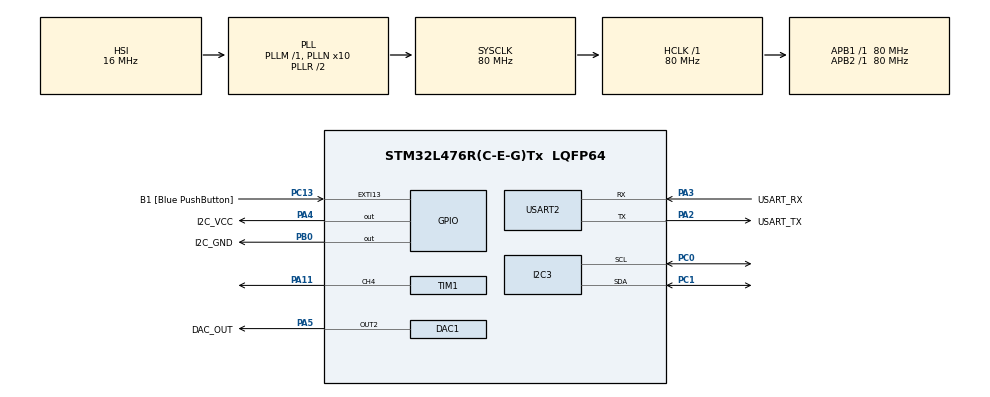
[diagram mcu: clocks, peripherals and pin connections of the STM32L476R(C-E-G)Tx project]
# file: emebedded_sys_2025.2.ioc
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ADC3.Channel-0\#ChannelRegularConversion=ADC_CHANNEL_15
ADC3.NbrOfConversionFlag=1
ADC3.OffsetNumber-0\#ChannelRegularConversion=ADC_OFFSET_NONE
ADC3.Rank-0\#ChannelRegularConversion=1
ADC3.SamplingTime-0\#ChannelRegularConversion=ADC_SAMPLETIME_2CYCLES_5
DAC1.DAC_Channel-DAC_OUT2_ExtAndInt=DAC_CHANNEL_2
DAC1.DAC_Trigger-DAC_OUT2_ExtAndInt=DAC_TRIGGER_T4_TRGO
Dma.ADC3.5.Direction=DMA_PERIPH_TO_MEMORY
Dma.ADC3.5.Instance=DMA2_Channel5
Dma.ADC3.5.MemDataAlignment=DMA_MDATAALIGN_HALFWORD
Dma.ADC3.5.MemInc=DMA_MINC_ENABLE
Dma.ADC3.5.Mode=DMA_NORMAL
Dma.ADC3.5.PeriphDataAlignment=DMA_PDATAALIGN_HALFWORD
Dma.ADC3.5.PeriphInc=DMA_PINC_DISABLE
Dma.ADC3.5.Priority=DMA_PRIORITY_HIGH
Dma.DAC_CH2.4.Direction=DMA_MEMORY_TO_PERIPH
Dma.DAC_CH2.4.Instance=DMA1_Channel4
Dma.DAC_CH2.4.MemDataAlignment=DMA_MDATAALIGN_HALFWORD
Dma.DAC_CH2.4.MemInc=DMA_MINC_ENABLE
Dma.DAC_CH2.4.Mode=DMA_CIRCULAR
Dma.DAC_CH2.4.PeriphDataAlignment=DMA_PDATAALIGN_HALFWORD
Dma.DAC_CH2.4.PeriphInc=DMA_PINC_DISABLE
Dma.DAC_CH2.4.Priority=DMA_PRIORITY_HIGH
Dma.I2C3_RX.2.Direction=DMA_PERIPH_TO_MEMORY
Dma.I2C3_RX.2.Instance=DMA1_Channel3
Dma.I2C3_RX.2.MemDataAlignment=DMA_MDATAALIGN_BYTE
Dma.I2C3_RX.2.MemInc=DMA_MINC_ENABLE
Dma.I2C3_RX.2.Mode=DMA_NORMAL
Dma.I2C3_RX.2.PeriphDataAlignment=DMA_PDATAALIGN_BYTE
Dma.I2C3_RX.2.PeriphInc=DMA_PINC_DISABLE
Dma.I2C3_RX.2.Priority=DMA_PRIORITY_MEDIUM
Dma.I2C3_TX.3.Direction=DMA_MEMORY_TO_PERIPH
Dma.I2C3_TX.3.Instance=DMA1_Channel2
Dma.I2C3_TX.3.MemDataAlignment=DMA_MDATAALIGN_BYTE
Dma.I2C3_TX.3.MemInc=DMA_MINC_ENABLE
Dma.I2C3_TX.3.Mode=DMA_NORMAL
Dma.I2C3_TX.3.PeriphDataAlignment=DMA_PDATAALIGN_BYTE
Dma.I2C3_TX.3.PeriphInc=DMA_PINC_DISABLE
Dma.I2C3_TX.3.Priority=DMA_PRIORITY_MEDIUM
Dma.Request0=USART2_RX
Dma.Request1=USART2_TX
Dma.Request2=I2C3_RX
Dma.Request3=I2C3_TX
Dma.Request4=DAC_CH2
Dma.Request5=ADC3
Dma.USART2_RX.0.Direction=DMA_PERIPH_TO_MEMORY
Dma.USART2_RX.0.Instance=DMA1_Channel6
Dma.USART2_RX.0.MemDataAlignment=DMA_MDATAALIGN_BYTE
Dma.USART2_RX.0.MemInc=DMA_MINC_ENABLE
Dma.USART2_RX.0.Mode=DMA_NORMAL
Dma.USART2_RX.0.PeriphDataAlignment=DMA_PDATAALIGN_BYTE
Dma.USART2_RX.0.PeriphInc=DMA_PINC_DISABLE
Dma.USART2_RX.0.Priority=DMA_PRIORITY_MEDIUM
Dma.USART2_TX.1.Direction=DMA_MEMORY_TO_PERIPH
Dma.USART2_TX.1.Instance=DMA1_Channel7
Dma.USART2_TX.1.MemDataAlignment=DMA_MDATAALIGN_BYTE
Dma.USART2_TX.1.MemInc=DMA_MINC_ENABLE
Dma.USART2_TX.1.Mode=DMA_NORMAL
Dma.USART2_TX.1.PeriphDataAlignment=DMA_PDATAALIGN_BYTE
Dma.USART2_TX.1.PeriphInc=DMA_PINC_DISABLE
Dma.USART2_TX.1.Priority=DMA_PRIORITY_MEDIUM
I2C3.Timing=0x10D19CE4
Mcu.Family=STM32L4
Mcu.Name=STM32L476R(C-E-G)Tx
Mcu.Package=LQFP64
NVIC.ADC3_IRQn=true\:5\:0\:true\:false\:true\:true\:true\:true
NVIC.DMA1_Channel2_IRQn=true\:0\:0\:false\:false\:true\:false\:true\:true
NVIC.DMA1_Channel3_IRQn=true\:0\:0\:false\:false\:true\:false\:true\:true
NVIC.DMA1_Channel4_IRQn=true\:0\:0\:false\:false\:true\:false\:true\:true
NVIC.DMA1_Channel6_IRQn=true\:0\:0\:false\:false\:true\:false\:true\:true
NVIC.DMA1_Channel7_IRQn=true\:0\:0\:false\:false\:true\:false\:true\:true
NVIC.DMA2_Channel5_IRQn=true\:0\:0\:false\:false\:true\:false\:true\:true
NVIC.EXTI15_10_IRQn=true\:7\:0\:true\:false\:true\:true\:true\:true
NVIC.I2C3_ER_IRQn=true\:2\:0\:true\:false\:true\:true\:true\:true
NVIC.I2C3_EV_IRQn=true\:2\:0\:true\:false\:true\:true\:true\:true
NVIC.PriorityGroup=NVIC_PRIORITYGROUP_4
NVIC.TIM2_IRQn=true\:0\:0\:false\:false\:true\:true\:true\:true
NVIC.TIM3_IRQn=true\:5\:0\:true\:false\:true\:true\:true\:true
NVIC.TIM6_DAC_IRQn=true\:0\:0\:false\:false\:true\:true\:true\:true
NVIC.USART2_IRQn=true\:3\:0\:true\:false\:true\:true\:true\:true
PA11.GPIO_ModeDefaultPP=GPIO_MODE_AF_PP
PA11.GPIO_PuPd=GPIO_NOPULL
PA11.GPIO_Speed=GPIO_SPEED_FREQ_LOW
PA11.Signal=S_TIM1_CH4
PA13\ (JTMS-SWDIO).GPIO_Label=TMS
PA13\ (JTMS-SWDIO).Mode=Serial_Wire
PA13\ (JTMS-SWDIO).Signal=SYS_JTMS-SWDIO
PA14\ (JTCK-SWCLK).GPIO_Label=TCK
PA14\ (JTCK-SWCLK).Mode=Serial_Wire
PA14\ (JTCK-SWCLK).Signal=SYS_JTCK-SWCLK
PA2.GPIO_Label=USART_TX
PA2.GPIO_Mode=GPIO_MODE_AF_PP
PA2.GPIO_PuPd=GPIO_NOPULL
PA2.GPIO_Speed=GPIO_SPEED_FREQ_VERY_HIGH
PA2.Mode=Asynchronous
PA2.Signal=USART2_TX
PA3.GPIO_Label=USART_RX
PA3.GPIO_Mode=GPIO_MODE_AF_PP
PA3.GPIO_PuPd=GPIO_NOPULL
PA3.GPIO_Speed=GPIO_SPEED_FREQ_VERY_HIGH
PA3.Mode=Asynchronous
PA3.Signal=USART2_RX
PA4.GPIO_Label=I2C_VCC
PA4.PinState=GPIO_PIN_SET
PA4.Signal=GPIO_Output
PA5.GPIO_Label=DAC_OUT
PA5.Signal=COMP_DAC12_group
PB0.GPIO_Label=I2C_GND
PB0.GPIO_ModeDefaultOutputPP=GPIO_MODE_OUTPUT_OD
PB0.GPIO_PuPd=GPIO_NOPULL
PB0.Signal=GPIO_Output
PB3\ (JTDO-TRACESWO).GPIO_Label=SWO
PB3\ (JTDO-TRACESWO).Signal=SYS_JTDO-SWO
PC0.GPIO_Pu=GPIO_PULLUP
PC0.Mode=I2C
PC0.Signal=I2C3_SCL
PC1.GPIO_Pu=GPIO_PULLUP
PC1.Mode=I2C
PC1.Signal=I2C3_SDA
PC13.GPIO_Label=B1 [Blue PushButton]
PC13.GPIO_ModeDefaultEXTI=GPIO_MODE_IT_FALLING
PC13.GPIO_PuPd=GPIO_NOPULL
PC13.Signal=GPXTI13
PC14-OSC32_IN\ (PC14).Mode=LSE-External-Oscillator
PC14-OSC32_IN\ (PC14).Signal=RCC_OSC32_IN
PC15-OSC32_OUT\ (PC15).Mode=LSE-External-Oscillator
PC15-OSC32_OUT\ (PC15).Signal=RCC_OSC32_OUT
PH0-OSC_IN\ (PH0).Signal=RCC_OSC_IN
PH1-OSC_OUT\ (PH1).Signal=RCC_OSC_OUT
ProjectManager.HeapSize=0x200
ProjectManager.StackSize=0x400
ProjectManager.TargetToolchain=Makefile
RCC.ADCFreq_Value=64000000
RCC.AHBFreq_Value=80000000
RCC.APB1Freq_Value=80000000
RCC.APB1TimFreq_Value=80000000
RCC.APB2Freq_Value=80000000
RCC.APB2TimFreq_Value=80000000
RCC.CortexFreq_Value=80000000
RCC.HCLKFreq_Value=80000000
RCC.HSE_VALUE=8000000
RCC.HSI_VALUE=16000000
RCC.MSI_VALUE=4000000
RCC.PLLN=10
RCC.PLLSourceVirtual=RCC_PLLSOURCE_HSI
RCC.PREFETCH_ENABLE=1
RCC.SYSCLKFreq_VALUE=80000000
RCC.SYSCLKSource=RCC_SYSCLKSOURCE_PLLCLK
RCC.USBFreq_Value=64000000
RCC.VCOOutputFreq_Value=160000000
SH.COMP_DAC12_group.0=DAC1_OUT2,DAC_OUT2_ExtAndInt
SH.S_TIM1_CH4.0=TIM1_CH4,PWM Generation4 CH4
TIM1.Channel-PWM\ Generation4\ CH4=TIM_CHANNEL_4
TIM1.Period=255
TIM1.Prescaler=79
TIM1.Pulse-PWM\ Generation4\ CH4=255
TIM2.Period=10000
TIM2.Prescaler=7999
TIM3.Period=9
TIM3.Prescaler=7999
TIM4.Period=10
TIM4.Prescaler=7999
TIM4.TIM_MasterOutputTrigger=TIM_TRGO_UPDATE
USART2.VirtualMode-Asynchronous=VM_ASYNC
VP_ADC3_VS_DAC1_OUT2_L4.Mode=IN-DAC1-OUT2
VP_TIM1_VS_ClockSourceINT.Mode=Internal
VP_TIM2_VS_ClockSourceINT.Mode=Internal
VP_TIM3_VS_ClockSourceINT.Mode=Internal
VP_TIM4_VS_ClockSourceINT.Mode=Internal
board=NUCLEO-L476RG

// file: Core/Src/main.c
/* USER CODE BEGIN Header */
/**
 ******************************************************************************
 * @file           : main.c
 * @brief          : Main program body
 ******************************************************************************
 * @attention
 *
 * Copyright (c) 2025 STMicroelectronics.
 * All rights reserved.
 *
 * This software is licensed under terms that can be found in the LICENSE file
 * in the root directory of this software component.
 * If no LICENSE file comes with this software, it is provided AS-IS.
 *
 ******************************************************************************
 */
/* USER CODE END Header */
#include "main.h"

/* USER CODE BEGIN Includes */
#include <stdio.h>
#include <stdlib.h>
#include <string.h>
#include <math.h>
/* USER CODE END Includes */

/* USER CODE BEGIN PTD */
typedef enum
{
  SYSTEM_STATE_1 = 1, // Idle state - waiting for events
  SYSTEM_STATE_2 = 2, // Config ADC channel via I2C
  SYSTEM_STATE_3 = 3, // Read ADC channel via I2C
  SYSTEM_STATE_4 = 4, // Process PWM duty cycle update
  SYSTEM_STATE_5 = 5, // Config ADC channel for DAC control
  SYSTEM_STATE_6 = 6, // Read ADC for DAC control
  SYSTEM_STATE_7 = 7, // Update DAC waveform amplitude
} SystemState;

typedef enum
{
  idle = 0,
  rx = 1,
  tx = 2,
} i2c_flag_t;

typedef enum
{
  PCF8591_CHANNEL_A0 = 0,
  PCF8591_CHANNEL_A1 = 1,
  PCF8591_CHANNEL_A2 = 2,
  PCF8591_CHANNEL_A3 = 3,
} pcf8591_channel_t;
typedef enum
{
  four_single_ended = 0b00,
  three_differential = 0b01,
  single_ended_and_differential_mixed = 0b10,
  two_differential = 0b11,
} analog_input_programming_t;

typedef struct pcf8591_config
{
  uint8_t : 1;
  uint8_t analog_output_enabled : 1;
  analog_input_programming_t analog_input_programming : 2;
  uint8_t : 1;
  uint8_t auto_increment_flag : 1;
  pcf8591_channel_t adc_selected_channel : 2;
} pcf8591_config_t;

/* USER CODE END PTD */

/* USER CODE BEGIN PD */
#define PCF8591_ADDRESS (0x48 << 1) // Shifted PCF8591 I2C address
#define I2C_INTERFACE hi2c3
#define I2C_INTERFACE_INSTANCE I2C3
#define SIN_WAVE_SAMPLES 512
#define SIN_WAVE_MAX_AMPLITUDE 4095 // 12-bit DAC max value
#define DEBOUNCE_TIME_MS 50         // Debounce time in milliseconds
#define DEBUG
// Define the MAX7219 registers
/* USER CODE END PD */

ADC_HandleTypeDef hadc3;
DMA_HandleTypeDef hdma_adc3;

DAC_HandleTypeDef hdac1;
DMA_HandleTypeDef hdma_dac_ch2;

I2C_HandleTypeDef hi2c3;
DMA_HandleTypeDef hdma_i2c3_rx;
DMA_HandleTypeDef hdma_i2c3_tx;

TIM_HandleTypeDef htim1;
TIM_HandleTypeDef htim2;
TIM_HandleTypeDef htim3;
TIM_HandleTypeDef htim4;

UART_HandleTypeDef huart2;
DMA_HandleTypeDef hdma_usart2_rx;
DMA_HandleTypeDef hdma_usart2_tx;

/* USER CODE BEGIN PV */

// Helper macros for atomic access
#define ATOMIC_READ(var) ({ \
  __disable_irq();          \
  typeof(var) tmp = (var);  \
  __enable_irq();           \
  tmp;                      \
})

#define ATOMIC_WRITE(var, value) \
  do                             \
  {                              \
    __disable_irq();             \
    (var) = (value);             \
    __enable_irq();              \
  } while (0)

// Variables that need atomic protection when accessed from both ISR and main
volatile SystemState system_state = SYSTEM_STATE_1;
volatile SystemState last_state = SYSTEM_STATE_1;
volatile i2c_flag_t i2c = idle;
volatile uint8_t mode = 1;
volatile uint8_t read = 0;
volatile uint8_t button_pressed = 0;    // Set by interrupt when button press is confirmed
volatile uint8_t debouncing = 0;        // Flag indicating debounce in progress
volatile uint16_t debounce_counter = 0; // Counter for debounce timing

static uint16_t sin_wave_buff[SIN_WAVE_SAMPLES];
static pcf8591_config_t pcf8591_config = {
    .analog_output_enabled = 1,
    .analog_input_programming = four_single_ended,
    .auto_increment_flag = 0,
    .adc_selected_channel = PCF8591_CHANNEL_A0,
};
static uint16_t pcf8591_value = 0;

/* USER CODE END PV */

void SystemClock_Config(void);
static void MX_GPIO_Init(void);
static void MX_DMA_Init(void);
static void MX_USART2_UART_Init(void);
static void MX_TIM2_Init(void);
static void MX_I2C3_Init(void);
static void MX_DAC1_Init(void);
static void MX_TIM1_Init(void);
static void MX_ADC3_Init(void);
static void MX_TIM4_Init(void);
static void MX_TIM3_Init(void);
/* USER CODE BEGIN PFP */
static SystemState get_system_state(void);
static void set_system_state(SystemState new_state);
static void set_pwm_duty(TIM_HandleTypeDef *htim, uint32_t channel, uint8_t duty_percent);
void next_state();
void switch_mode();
void populate_sin_wave_buff(uint16_t wave_amplitude, uint8_t update);
void HAL_TIM_PeriodElapsedCallback(TIM_HandleTypeDef *htim);
void HAL_GPIO_EXTI_Callback(uint16_t GPIO_Pin);
HAL_StatusTypeDef PCF8591_set_channel_index(pcf8591_channel_t channel_index);
HAL_StatusTypeDef PCF8591_read_analog_channel();
/* USER CODE END PFP */

/* USER CODE BEGIN 0 */

void next_state()
{
  switch (get_system_state())
  {
  case SYSTEM_STATE_1:
    if (ATOMIC_READ(read))
    {
      uint8_t mod = ATOMIC_READ(mode);
      if (mod == 1 || mod == 3)
        set_system_state(SYSTEM_STATE_2);
      else if (mod == 2)
        set_system_state(SYSTEM_STATE_5);
      else
        mod = 1;
    }
    break;
  case SYSTEM_STATE_4:
    if (ATOMIC_READ(mode) == 1)
      set_system_state(SYSTEM_STATE_1);
    else if (ATOMIC_READ(mode) == 3)
      set_system_state(SYSTEM_STATE_5);
    break;
  case SYSTEM_STATE_2:
    if (ATOMIC_READ(i2c) == tx)
      set_system_state(SYSTEM_STATE_3);
    break;
  case SYSTEM_STATE_3:
    if (ATOMIC_READ(i2c) == rx)
      set_system_state(SYSTEM_STATE_4);
    break;
  case SYSTEM_STATE_5:
    if (ATOMIC_READ(i2c) == tx)
      set_system_state(SYSTEM_STATE_6);
    break;
  case SYSTEM_STATE_6:
    if (ATOMIC_READ(i2c) == rx)
      set_system_state(SYSTEM_STATE_7);
    break;
  case SYSTEM_STATE_7:
    set_system_state(SYSTEM_STATE_1);
    break;
  default:
    break;
  }
}

void switch_mode()
{
  ATOMIC_WRITE(mode, (mode % 3) + 1);
  switch (ATOMIC_READ(mode))
  {
  case 1:
  default:
    /* TODO: Check HAL return values and handle errors appropriately */
    HAL_DAC_Stop_DMA(&hdac1, DAC_CHANNEL_2);  // Stop DAC DMA
    HAL_DAC_Stop(&hdac1, DAC_CHANNEL_2);      // Stop DAC DMA
    HAL_TIM_PWM_Start(&htim1, TIM_CHANNEL_4); // Start PWM
    break;
  case 2:
    HAL_TIM_PWM_Stop(&htim1, TIM_CHANNEL_4); // Stop PWM
    /* TODO: Verify HAL_DAC_Start_DMA return value before proceeding */
    HAL_DAC_Start_DMA(&hdac1, DAC_CHANNEL_2, (uint32_t *)sin_wave_buff, SIN_WAVE_SAMPLES, DAC_ALIGN_12B_R);
    break;
  case 3:
    HAL_DAC_Start_DMA(&hdac1, DAC_CHANNEL_2, (uint32_t *)sin_wave_buff, SIN_WAVE_SAMPLES, DAC_ALIGN_12B_R);
    HAL_TIM_PWM_Start(&htim1, TIM_CHANNEL_4); // Start PWM
    break;
  }
}
// Safer state transitions
static void set_system_state(SystemState new_state)
{
#ifdef DEBUG
  if (new_state != system_state)
  {
    static char msg[50];
    snprintf(msg, sizeof(msg), "[debug] State changed from %d to %d\r\n", system_state, new_state);
    HAL_UART_Transmit(&huart2, (uint8_t *)msg, strlen(msg), HAL_MAX_DELAY);
  }
#endif
  ATOMIC_WRITE(system_state, new_state);
}

static inline SystemState get_system_state(void)
{
  return ATOMIC_READ(system_state);
}

static void set_pwm_duty(TIM_HandleTypeDef *htim, uint32_t channel, uint8_t duty)
{
  __HAL_TIM_SET_COMPARE(htim, channel, duty);
}

void HAL_I2C_MasterTxCpltCallback(I2C_HandleTypeDef *hi2c) { i2c = tx; }

void HAL_I2C_MasterRxCpltCallback(I2C_HandleTypeDef *hi2c) { i2c = rx; }

void HAL_TIM_PeriodElapsedCallback(TIM_HandleTypeDef *htim)
{
  if (htim->Instance == TIM2 && get_system_state() == SYSTEM_STATE_1)
  {
    read = 1;
  }
  else if (htim->Instance == TIM3)
  {
    // Timer3 is used for debouncing - increments every 1ms
    debounce_counter++;

    if (debounce_counter >= DEBOUNCE_TIME_MS)
    {
      // Debounce period complete - check button state
      if (HAL_GPIO_ReadPin(B1_GPIO_Port, B1_Pin) == GPIO_PIN_RESET)
      {
        // Button is still pressed after debounce period - valid press
        button_pressed = 1;
      }

      // Stop timer and reset debounce state
      HAL_TIM_Base_Stop_IT(&htim3);
      debouncing = 0;
      debounce_counter = 0;
    }
  }
}

void HAL_GPIO_EXTI_Callback(uint16_t GPIO_Pin)
{
  if (GPIO_Pin == B1_Pin && !debouncing)
  {
    // Start debounce timer on falling edge (button press)
    debouncing = 1;
    debounce_counter = 0;
    HAL_TIM_Base_Start_IT(&htim3);
  }
}

void populate_sin_wave_buff(uint16_t wave_amplitude, uint8_t update)
{
  static uint16_t amplitude;
  if (wave_amplitude > SIN_WAVE_MAX_AMPLITUDE)
    wave_amplitude = SIN_WAVE_MAX_AMPLITUDE;
  else if (wave_amplitude == 0)
  {
    /* if amplitude is zero, clear the buffer */
    memset(sin_wave_buff, 0, sizeof(sin_wave_buff));
    amplitude = 0;
    return;
  }

  // if amplitude is very low, force full update to avoid precision loss
  if (amplitude < SIN_WAVE_MAX_AMPLITUDE / 16)
    update = 0;

  __disable_irq(); // Disable interrupts to safely update the sine wave buffer
  if (update)
  {
    /*
      Calibrate sine wave buffer based on new amplitude
      using ratio of new amplitude to old amplitude.
      This improves system efficiency and reduces computational load.
    */
    double ratio = (double)wave_amplitude / amplitude;
    for (size_t i = 0; i < SIN_WAVE_SAMPLES; ++i)
      sin_wave_buff[i] = (uint16_t)(sin_wave_buff[i] * ratio);
  }
  else
  {
    // Fully recalculate sine wave buffer based on new amplitude
    for (size_t i = 0; i < SIN_WAVE_SAMPLES; ++i)
    {
      // calc current sin sample
      double v = (sin(2.0 * M_PI * i / SIN_WAVE_SAMPLES) + 1.0) / 2.0;
      sin_wave_buff[i] = (uint16_t)(v * wave_amplitude); // saves on buffer
    }
  }
  amplitude = wave_amplitude;
  __enable_irq();
}

HAL_StatusTypeDef PCF8591_read_analog_channel()
{
  // Read two bytes: first byte is a dummy, second byte is the actual analog value
  return HAL_I2C_Master_Receive_DMA(&I2C_INTERFACE, PCF8591_ADDRESS, (uint8_t *)&pcf8591_value, 2);
}

HAL_StatusTypeDef PCF8591_set_channel_index(pcf8591_channel_t channel_index)
{
  if (channel_index > 3)
    return HAL_ERROR; // Invalid channel index

  pcf8591_config.adc_selected_channel = channel_index; // Set the ADC channel index
  // send the updated configuration to the PCF8591
  return HAL_I2C_Master_Transmit_DMA(&I2C_INTERFACE, PCF8591_ADDRESS, (uint8_t *)&pcf8591_config, 1);
}

/* USER CODE END 0 */

int main(void)
{

  /* MCU Configuration--------------------------------------------------------*/

  /* Reset of all peripherals, Initializes the Flash interface and the Systick. */
  HAL_Init();

  /* Configure the system clock */
  SystemClock_Config();

  /* Initialize all configured peripherals */
  MX_GPIO_Init();
  MX_DMA_Init();
  MX_USART2_UART_Init();
  MX_TIM2_Init();
  MX_I2C3_Init();
  MX_DAC1_Init();
  MX_TIM1_Init();
  MX_ADC3_Init();
  MX_TIM4_Init();
  MX_TIM3_Init();
  /* USER CODE BEGIN 2 */
  set_system_state(SYSTEM_STATE_1);
  HAL_TIM_Base_Start_IT(&htim2);                     // Start timer for periodic tasks
  HAL_TIM_Base_Start(&htim4);                        // Start TIM4 for DAC DMA triggering
  HAL_TIM_PWM_Start(&htim1, TIM_CHANNEL_4);          // Start PWM for DAC output
  populate_sin_wave_buff(SIN_WAVE_MAX_AMPLITUDE, 0); // Initialize sine wave buffer with maximum amplitude
  /* USER CODE END 2 */

  /* Infinite loop */
  /* USER CODE BEGIN WHILE */
  while (1)
  {
    switch (get_system_state())
    {
    case SYSTEM_STATE_1:
      __WFI(); // Wait for interrupt to save power

      // Check if button was pressed (debounced)
      if (ATOMIC_READ(button_pressed))
      {
        ATOMIC_WRITE(button_pressed, 0); // reset button_pressed flag
        switch_mode();                   // switch to the next mode
      }
      break;
    case SYSTEM_STATE_2:
      ATOMIC_WRITE(read, 0);                         // reset read flag
      PCF8591_set_channel_index(PCF8591_CHANNEL_A3); // set channel to A3 (LDR)
      __WFI();                                       // Wait for interrupt to save power
      break;
    case SYSTEM_STATE_3:
      PCF8591_read_analog_channel(); // read analog value from selected channel
      __WFI();                       // Wait for interrupt to save power
      break;
    case SYSTEM_STATE_4:
      pcf8591_value &= 0x00FF;                            // Ensure we only use the lower 8 bits
      set_pwm_duty(&htim1, TIM_CHANNEL_4, pcf8591_value); // Update PWM duty cycle with LDR value
      ATOMIC_WRITE(i2c, idle);                            // reset i2c flag
#ifdef DEBUG
      char tx[50];
      snprintf(tx, sizeof(tx), "[debug] pcf8591=%u\r\n", pcf8591_value);
      HAL_UART_Transmit(&huart2, (uint8_t *)tx, strlen(tx), HAL_MAX_DELAY);
#endif
      break;
    case SYSTEM_STATE_5:
      ATOMIC_WRITE(read, 0);                         // reset read flag
      PCF8591_set_channel_index(PCF8591_CHANNEL_A0); // set channel to A0 (Potentiometer)
      __WFI();                                       // Wait for interrupt to save power
      break;
    case SYSTEM_STATE_6:
      PCF8591_read_analog_channel(); // read analog value from selected channel
      __WFI();                       // Wait for interrupt to save power
      break;
    case SYSTEM_STATE_7:
      pcf8591_value &= 0x00FF;                                                                                    // Ensure we only use the lower 8 bits
      uint16_t new_wave_amplitude = (uint16_t)((UINT8_MAX - pcf8591_value) * SIN_WAVE_MAX_AMPLITUDE / UINT8_MAX); // Calculate new wave amplitude based on potentiometer value
      populate_sin_wave_buff(new_wave_amplitude, 1); // update sine wave amplitude
      ATOMIC_WRITE(i2c, idle);                       // reset i2c flag
#ifdef DEBUG
      char tx[50];
      snprintf(tx, sizeof(tx), "[debug] pcf8591=%u amplitude=%u\r\n", pcf8591_value, new_wave_amplitude);
      HAL_UART_Transmit(&huart2, (uint8_t *)tx, strlen(tx), HAL_MAX_DELAY);
#endif
      break;
    default:
      break;
    }
    next_state(); // Move to the next system state
    /* USER CODE END WHILE */

  }
}

void SystemClock_Config(void)
{
  RCC_OscInitTypeDef RCC_OscInitStruct = {0};
  RCC_ClkInitTypeDef RCC_ClkInitStruct = {0};

  /** Configure the main internal regulator output voltage
   */
  if (HAL_PWREx_ControlVoltageScaling(PWR_REGULATOR_VOLTAGE_SCALE1) != HAL_OK)
  {
    Error_Handler();
  }

  /** Initializes the RCC Oscillators according to the specified parameters
   * in the RCC_OscInitTypeDef structure.
   */
  RCC_OscInitStruct.OscillatorType = RCC_OSCILLATORTYPE_HSI;
  RCC_OscInitStruct.HSIState = RCC_HSI_ON;
  RCC_OscInitStruct.HSICalibrationValue = RCC_HSICALIBRATION_DEFAULT;
  RCC_OscInitStruct.PLL.PLLState = RCC_PLL_ON;
  RCC_OscInitStruct.PLL.PLLSource = RCC_PLLSOURCE_HSI;
  RCC_OscInitStruct.PLL.PLLM = 1;
  RCC_OscInitStruct.PLL.PLLN = 10;
  RCC_OscInitStruct.PLL.PLLP = RCC_PLLP_DIV7;
  RCC_OscInitStruct.PLL.PLLQ = RCC_PLLQ_DIV2;
  RCC_OscInitStruct.PLL.PLLR = RCC_PLLR_DIV2;
  if (HAL_RCC_OscConfig(&RCC_OscInitStruct) != HAL_OK)
  {
    Error_Handler();
  }

  /** Initializes the CPU, AHB and APB buses clocks
   */
  RCC_ClkInitStruct.ClockType = RCC_CLOCKTYPE_HCLK | RCC_CLOCKTYPE_SYSCLK | RCC_CLOCKTYPE_PCLK1 | RCC_CLOCKTYPE_PCLK2;
  RCC_ClkInitStruct.SYSCLKSource = RCC_SYSCLKSOURCE_PLLCLK;
  RCC_ClkInitStruct.AHBCLKDivider = RCC_SYSCLK_DIV1;
  RCC_ClkInitStruct.APB1CLKDivider = RCC_HCLK_DIV1;
  RCC_ClkInitStruct.APB2CLKDivider = RCC_HCLK_DIV1;

  if (HAL_RCC_ClockConfig(&RCC_ClkInitStruct, FLASH_LATENCY_4) != HAL_OK)
  {
    Error_Handler();
  }
}

static void MX_ADC3_Init(void)
{

  ADC_ChannelConfTypeDef sConfig = {0};

  /** Common config
   */
  hadc3.Instance = ADC3;
  hadc3.Init.ClockPrescaler = ADC_CLOCK_ASYNC_DIV1;
  hadc3.Init.Resolution = ADC_RESOLUTION_12B;
  hadc3.Init.DataAlign = ADC_DATAALIGN_RIGHT;
  hadc3.Init.ScanConvMode = ADC_SCAN_DISABLE;
  hadc3.Init.EOCSelection = ADC_EOC_SINGLE_CONV;
  hadc3.Init.LowPowerAutoWait = DISABLE;
  hadc3.Init.ContinuousConvMode = DISABLE;
  hadc3.Init.NbrOfConversion = 1;
  hadc3.Init.DiscontinuousConvMode = DISABLE;
  hadc3.Init.ExternalTrigConv = ADC_SOFTWARE_START;
  hadc3.Init.ExternalTrigConvEdge = ADC_EXTERNALTRIGCONVEDGE_NONE;
  hadc3.Init.DMAContinuousRequests = DISABLE;
  hadc3.Init.Overrun = ADC_OVR_DATA_PRESERVED;
  hadc3.Init.OversamplingMode = DISABLE;
  if (HAL_ADC_Init(&hadc3) != HAL_OK)
  {
    Error_Handler();
  }

  /** Configure Regular Channel
   */
  sConfig.Channel = ADC_CHANNEL_15;
  sConfig.Rank = ADC_REGULAR_RANK_1;
  sConfig.SamplingTime = ADC_SAMPLETIME_2CYCLES_5;
  sConfig.SingleDiff = ADC_SINGLE_ENDED;
  sConfig.OffsetNumber = ADC_OFFSET_NONE;
  sConfig.Offset = 0;
  if (HAL_ADC_ConfigChannel(&hadc3, &sConfig) != HAL_OK)
  {
    Error_Handler();
  }
}

static void MX_DAC1_Init(void)
{

  DAC_ChannelConfTypeDef sConfig = {0};

  /** DAC Initialization
   */
  hdac1.Instance = DAC1;
  if (HAL_DAC_Init(&hdac1) != HAL_OK)
  {
    Error_Handler();
  }

  /** DAC channel OUT2 config
   */
  sConfig.DAC_SampleAndHold = DAC_SAMPLEANDHOLD_DISABLE;
  sConfig.DAC_Trigger = DAC_TRIGGER_T4_TRGO;
  sConfig.DAC_OutputBuffer = DAC_OUTPUTBUFFER_ENABLE;
  sConfig.DAC_ConnectOnChipPeripheral = DAC_CHIPCONNECT_ENABLE;
  sConfig.DAC_UserTrimming = DAC_TRIMMING_FACTORY;
  if (HAL_DAC_ConfigChannel(&hdac1, &sConfig, DAC_CHANNEL_2) != HAL_OK)
  {
    Error_Handler();
  }
}

static void MX_I2C3_Init(void)
{

  hi2c3.Instance = I2C3;
  hi2c3.Init.Timing = 0x10D19CE4;
  hi2c3.Init.OwnAddress1 = 0;
  hi2c3.Init.AddressingMode = I2C_ADDRESSINGMODE_7BIT;
  hi2c3.Init.DualAddressMode = I2C_DUALADDRESS_DISABLE;
  hi2c3.Init.OwnAddress2 = 0;
  hi2c3.Init.OwnAddress2Masks = I2C_OA2_NOMASK;
  hi2c3.Init.GeneralCallMode = I2C_GENERALCALL_DISABLE;
  hi2c3.Init.NoStretchMode = I2C_NOSTRETCH_DISABLE;
  if (HAL_I2C_Init(&hi2c3) != HAL_OK)
  {
    Error_Handler();
  }

  /** Configure Analogue filter
   */
  if (HAL_I2CEx_ConfigAnalogFilter(&hi2c3, I2C_ANALOGFILTER_ENABLE) != HAL_OK)
  {
    Error_Handler();
  }

  /** Configure Digital filter
   */
  if (HAL_I2CEx_ConfigDigitalFilter(&hi2c3, 0) != HAL_OK)
  {
    Error_Handler();
  }
}

static void MX_TIM1_Init(void)
{

  TIM_ClockConfigTypeDef sClockSourceConfig = {0};
  TIM_MasterConfigTypeDef sMasterConfig = {0};
  TIM_OC_InitTypeDef sConfigOC = {0};
  TIM_BreakDeadTimeConfigTypeDef sBreakDeadTimeConfig = {0};

  htim1.Instance = TIM1;
  htim1.Init.Prescaler = 79;
  htim1.Init.CounterMode = TIM_COUNTERMODE_UP;
  htim1.Init.Period = 255;
  htim1.Init.ClockDivision = TIM_CLOCKDIVISION_DIV1;
  htim1.Init.RepetitionCounter = 0;
  htim1.Init.AutoReloadPreload = TIM_AUTORELOAD_PRELOAD_DISABLE;
  if (HAL_TIM_Base_Init(&htim1) != HAL_OK)
  {
    Error_Handler();
  }
  sClockSourceConfig.ClockSource = TIM_CLOCKSOURCE_INTERNAL;
  if (HAL_TIM_ConfigClockSource(&htim1, &sClockSourceConfig) != HAL_OK)
  {
    Error_Handler();
  }
  if (HAL_TIM_PWM_Init(&htim1) != HAL_OK)
  {
    Error_Handler();
  }
  sMasterConfig.MasterOutputTrigger = TIM_TRGO_RESET;
  sMasterConfig.MasterOutputTrigger2 = TIM_TRGO2_RESET;
  sMasterConfig.MasterSlaveMode = TIM_MASTERSLAVEMODE_DISABLE;
  if (HAL_TIMEx_MasterConfigSynchronization(&htim1, &sMasterConfig) != HAL_OK)
  {
    Error_Handler();
  }
  sConfigOC.OCMode = TIM_OCMODE_PWM1;
  sConfigOC.Pulse = 255;
  sConfigOC.OCPolarity = TIM_OCPOLARITY_HIGH;
  sConfigOC.OCFastMode = TIM_OCFAST_DISABLE;
  sConfigOC.OCIdleState = TIM_OCIDLESTATE_RESET;
  sConfigOC.OCNIdleState = TIM_OCNIDLESTATE_RESET;
  if (HAL_TIM_PWM_ConfigChannel(&htim1, &sConfigOC, TIM_CHANNEL_4) != HAL_OK)
  {
    Error_Handler();
  }
  sBreakDeadTimeConfig.OffStateRunMode = TIM_OSSR_DISABLE;
  sBreakDeadTimeConfig.OffStateIDLEMode = TIM_OSSI_DISABLE;
  sBreakDeadTimeConfig.LockLevel = TIM_LOCKLEVEL_OFF;
  sBreakDeadTimeConfig.DeadTime = 0;
  sBreakDeadTimeConfig.BreakState = TIM_BREAK_DISABLE;
  sBreakDeadTimeConfig.BreakPolarity = TIM_BREAKPOLARITY_HIGH;
  sBreakDeadTimeConfig.BreakFilter = 0;
  sBreakDeadTimeConfig.Break2State = TIM_BREAK2_DISABLE;
  sBreakDeadTimeConfig.Break2Polarity = TIM_BREAK2POLARITY_HIGH;
  sBreakDeadTimeConfig.Break2Filter = 0;
  sBreakDeadTimeConfig.AutomaticOutput = TIM_AUTOMATICOUTPUT_DISABLE;
  if (HAL_TIMEx_ConfigBreakDeadTime(&htim1, &sBreakDeadTimeConfig) != HAL_OK)
  {
    Error_Handler();
  }
  HAL_TIM_MspPostInit(&htim1);
}

static void MX_TIM2_Init(void)
{

  TIM_ClockConfigTypeDef sClockSourceConfig = {0};
  TIM_MasterConfigTypeDef sMasterConfig = {0};

  htim2.Instance = TIM2;
  htim2.Init.Prescaler = 7999;
  htim2.Init.CounterMode = TIM_COUNTERMODE_UP;
  htim2.Init.Period = 10000;
  htim2.Init.ClockDivision = TIM_CLOCKDIVISION_DIV1;
  htim2.Init.AutoReloadPreload = TIM_AUTORELOAD_PRELOAD_DISABLE;
  if (HAL_TIM_Base_Init(&htim2) != HAL_OK)
  {
    Error_Handler();
  }
  sClockSourceConfig.ClockSource = TIM_CLOCKSOURCE_INTERNAL;
  if (HAL_TIM_ConfigClockSource(&htim2, &sClockSourceConfig) != HAL_OK)
  {
    Error_Handler();
  }
  sMasterConfig.MasterOutputTrigger = TIM_TRGO_RESET;
  sMasterConfig.MasterSlaveMode = TIM_MASTERSLAVEMODE_DISABLE;
  if (HAL_TIMEx_MasterConfigSynchronization(&htim2, &sMasterConfig) != HAL_OK)
  {
    Error_Handler();
  }
}

static void MX_TIM3_Init(void)
{

  TIM_ClockConfigTypeDef sClockSourceConfig = {0};
  TIM_MasterConfigTypeDef sMasterConfig = {0};

  htim3.Instance = TIM3;
  htim3.Init.Prescaler = 7999; // 80MHz / 8000 = 10kHz
  htim3.Init.CounterMode = TIM_COUNTERMODE_UP;
  htim3.Init.Period = 9; // 10kHz / 10 = 1kHz (1ms period)
  htim3.Init.ClockDivision = TIM_CLOCKDIVISION_DIV1;
  htim3.Init.AutoReloadPreload = TIM_AUTORELOAD_PRELOAD_DISABLE;
  if (HAL_TIM_Base_Init(&htim3) != HAL_OK)
  {
    Error_Handler();
  }
  sClockSourceConfig.ClockSource = TIM_CLOCKSOURCE_INTERNAL;
  if (HAL_TIM_ConfigClockSource(&htim3, &sClockSourceConfig) != HAL_OK)
  {
    Error_Handler();
  }
  sMasterConfig.MasterOutputTrigger = TIM_TRGO_RESET;
  sMasterConfig.MasterSlaveMode = TIM_MASTERSLAVEMODE_DISABLE;
  if (HAL_TIMEx_MasterConfigSynchronization(&htim3, &sMasterConfig) != HAL_OK)
  {
    Error_Handler();
  }
}

static void MX_TIM4_Init(void)
{

  TIM_ClockConfigTypeDef sClockSourceConfig = {0};
  TIM_MasterConfigTypeDef sMasterConfig = {0};

  htim4.Instance = TIM4;
  htim4.Init.Prescaler = 7999;
  htim4.Init.CounterMode = TIM_COUNTERMODE_UP;
  htim4.Init.Period = 10;
  htim4.Init.ClockDivision = TIM_CLOCKDIVISION_DIV1;
  htim4.Init.AutoReloadPreload = TIM_AUTORELOAD_PRELOAD_DISABLE;
  if (HAL_TIM_Base_Init(&htim4) != HAL_OK)
  {
    Error_Handler();
  }
  sClockSourceConfig.ClockSource = TIM_CLOCKSOURCE_INTERNAL;
  if (HAL_TIM_ConfigClockSource(&htim4, &sClockSourceConfig) != HAL_OK)
  {
    Error_Handler();
  }
  sMasterConfig.MasterOutputTrigger = TIM_TRGO_UPDATE;
  sMasterConfig.MasterSlaveMode = TIM_MASTERSLAVEMODE_DISABLE;
  if (HAL_TIMEx_MasterConfigSynchronization(&htim4, &sMasterConfig) != HAL_OK)
  {
    Error_Handler();
  }
}

static void MX_USART2_UART_Init(void)
{

  huart2.Instance = USART2;
  huart2.Init.BaudRate = 115200;
  huart2.Init.WordLength = UART_WORDLENGTH_8B;
  huart2.Init.StopBits = UART_STOPBITS_1;
  huart2.Init.Parity = UART_PARITY_NONE;
  huart2.Init.Mode = UART_MODE_TX_RX;
  huart2.Init.HwFlowCtl = UART_HWCONTROL_NONE;
  huart2.Init.OverSampling = UART_OVERSAMPLING_16;
  huart2.Init.OneBitSampling = UART_ONE_BIT_SAMPLE_DISABLE;
  huart2.AdvancedInit.AdvFeatureInit = UART_ADVFEATURE_NO_INIT;
  if (HAL_UART_Init(&huart2) != HAL_OK)
  {
    Error_Handler();
  }
}

static void MX_DMA_Init(void)
{

  /* DMA controller clock enable */
  __HAL_RCC_DMA1_CLK_ENABLE();
  __HAL_RCC_DMA2_CLK_ENABLE();

  /* DMA interrupt init */
  /* DMA1_Channel2_IRQn interrupt configuration */
  HAL_NVIC_SetPriority(DMA1_Channel2_IRQn, 0, 0);
  HAL_NVIC_EnableIRQ(DMA1_Channel2_IRQn);
  /* DMA1_Channel3_IRQn interrupt configuration */
  HAL_NVIC_SetPriority(DMA1_Channel3_IRQn, 0, 0);
  HAL_NVIC_EnableIRQ(DMA1_Channel3_IRQn);
  /* DMA1_Channel4_IRQn interrupt configuration */
  HAL_NVIC_SetPriority(DMA1_Channel4_IRQn, 0, 0);
  HAL_NVIC_EnableIRQ(DMA1_Channel4_IRQn);
  /* DMA1_Channel6_IRQn interrupt configuration */
  HAL_NVIC_SetPriority(DMA1_Channel6_IRQn, 0, 0);
  HAL_NVIC_EnableIRQ(DMA1_Channel6_IRQn);
  /* DMA1_Channel7_IRQn interrupt configuration */
  HAL_NVIC_SetPriority(DMA1_Channel7_IRQn, 0, 0);
  HAL_NVIC_EnableIRQ(DMA1_Channel7_IRQn);
  /* DMA2_Channel5_IRQn interrupt configuration */
  HAL_NVIC_SetPriority(DMA2_Channel5_IRQn, 0, 0);
  HAL_NVIC_EnableIRQ(DMA2_Channel5_IRQn);
}

static void MX_GPIO_Init(void)
{
  GPIO_InitTypeDef GPIO_InitStruct = {0};

  /* GPIO Ports Clock Enable */
  __HAL_RCC_GPIOC_CLK_ENABLE();
  __HAL_RCC_GPIOH_CLK_ENABLE();
  __HAL_RCC_GPIOA_CLK_ENABLE();
  __HAL_RCC_GPIOB_CLK_ENABLE();

  /*Configure GPIO pin Output Level */
  HAL_GPIO_WritePin(I2C_VCC_GPIO_Port, I2C_VCC_Pin, GPIO_PIN_SET);

  /*Configure GPIO pin Output Level */
  HAL_GPIO_WritePin(I2C_GND_GPIO_Port, I2C_GND_Pin, GPIO_PIN_RESET);

  /*Configure GPIO pin : B1_Pin */
  GPIO_InitStruct.Pin = B1_Pin;
  GPIO_InitStruct.Mode = GPIO_MODE_IT_FALLING;
  GPIO_InitStruct.Pull = GPIO_NOPULL;
  HAL_GPIO_Init(B1_GPIO_Port, &GPIO_InitStruct);

  /*Configure GPIO pin : I2C_VCC_Pin */
  GPIO_InitStruct.Pin = I2C_VCC_Pin;
  GPIO_InitStruct.Mode = GPIO_MODE_OUTPUT_PP;
  GPIO_InitStruct.Pull = GPIO_NOPULL;
  GPIO_InitStruct.Speed = GPIO_SPEED_FREQ_LOW;
  HAL_GPIO_Init(I2C_VCC_GPIO_Port, &GPIO_InitStruct);

  /*Configure GPIO pin : I2C_GND_Pin */
  GPIO_InitStruct.Pin = I2C_GND_Pin;
  GPIO_InitStruct.Mode = GPIO_MODE_OUTPUT_OD;
  GPIO_InitStruct.Pull = GPIO_NOPULL;
  GPIO_InitStruct.Speed = GPIO_SPEED_FREQ_LOW;
  HAL_GPIO_Init(I2C_GND_GPIO_Port, &GPIO_InitStruct);

  /* EXTI interrupt init*/
  HAL_NVIC_SetPriority(EXTI15_10_IRQn, 7, 0);
  HAL_NVIC_EnableIRQ(EXTI15_10_IRQn);

}

void Error_Handler(void)
{
  __disable_irq();
  while (1)
  {
  }
}
